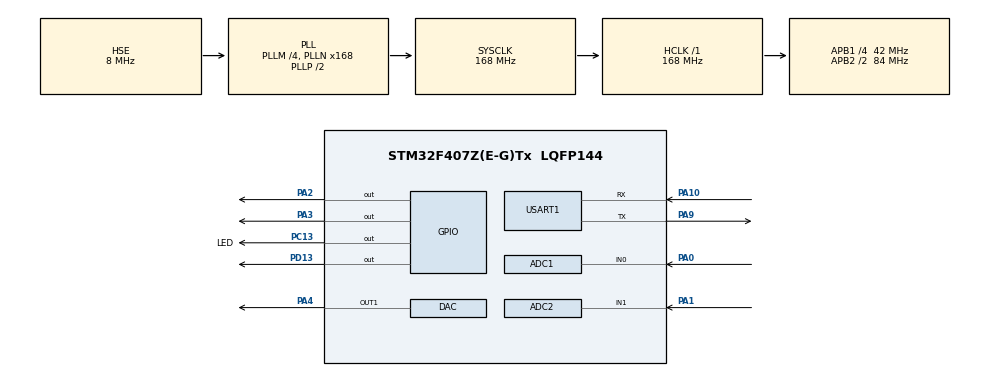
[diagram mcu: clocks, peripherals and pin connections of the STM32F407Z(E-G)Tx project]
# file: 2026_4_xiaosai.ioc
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ADC1.Channel-0\#ChannelRegularConversion=ADC_CHANNEL_0
ADC1.ClockPrescaler=ADC_CLOCK_SYNC_PCLK_DIV4
ADC1.ContinuousConvMode=DISABLE
ADC1.DMAContinuousRequests=ENABLE
ADC1.EOCSelection=ADC_EOC_SINGLE_CONV
ADC1.ExternalTrigConv=ADC_EXTERNALTRIGCONV_T3_TRGO
ADC1.Mode=ADC_DUALMODE_REGSIMULT
ADC1.NbrOfConversionFlag=1
ADC1.Rank-0\#ChannelRegularConversion=1
ADC1.SamplingTime-0\#ChannelRegularConversion=ADC_SAMPLETIME_3CYCLES
ADC1.ScanConvMode=DISABLE
ADC1.master=1
ADC2.Channel-1\#ChannelRegularConversion=ADC_CHANNEL_1
ADC2.ClockPrescaler=ADC_CLOCK_SYNC_PCLK_DIV4
ADC2.DMAAccessMode=ADC_DMAACCESSMODE_2
ADC2.Mode=ADC_DUALMODE_REGSIMULT
ADC2.NbrOfConversionFlag=1
ADC2.Rank-1\#ChannelRegularConversion=1
ADC2.SamplingTime-1\#ChannelRegularConversion=ADC_SAMPLETIME_3CYCLES
DAC.DAC_Trigger=DAC_TRIGGER_T2_TRGO
Dma.ADC1.0.Direction=DMA_PERIPH_TO_MEMORY
Dma.ADC1.0.FIFOMode=DMA_FIFOMODE_DISABLE
Dma.ADC1.0.Instance=DMA2_Stream0
Dma.ADC1.0.MemDataAlignment=DMA_MDATAALIGN_WORD
Dma.ADC1.0.MemInc=DMA_MINC_ENABLE
Dma.ADC1.0.Mode=DMA_CIRCULAR
Dma.ADC1.0.PeriphDataAlignment=DMA_PDATAALIGN_WORD
Dma.ADC1.0.PeriphInc=DMA_PINC_DISABLE
Dma.ADC1.0.Priority=DMA_PRIORITY_LOW
Dma.DAC1.1.Direction=DMA_MEMORY_TO_PERIPH
Dma.DAC1.1.FIFOMode=DMA_FIFOMODE_DISABLE
Dma.DAC1.1.Instance=DMA1_Stream5
Dma.DAC1.1.MemDataAlignment=DMA_MDATAALIGN_HALFWORD
Dma.DAC1.1.MemInc=DMA_MINC_ENABLE
Dma.DAC1.1.Mode=DMA_CIRCULAR
Dma.DAC1.1.PeriphDataAlignment=DMA_PDATAALIGN_HALFWORD
Dma.DAC1.1.PeriphInc=DMA_PINC_DISABLE
Dma.DAC1.1.Priority=DMA_PRIORITY_LOW
Dma.Request0=ADC1
Dma.Request1=DAC1
Mcu.Family=STM32F4
Mcu.Name=STM32F407Z(E-G)Tx
Mcu.Package=LQFP144
NVIC.ADC_IRQn=true\:0\:0\:false\:false\:true\:true\:true\:true
NVIC.DMA1_Stream5_IRQn=true\:0\:0\:false\:false\:true\:false\:true\:true
NVIC.DMA2_Stream0_IRQn=true\:0\:0\:false\:false\:true\:false\:true\:true
NVIC.PriorityGroup=NVIC_PRIORITYGROUP_4
PA0-WKUP.Signal=ADCx_IN0
PA1.Signal=ADCx_IN1
PA10.Mode=Asynchronous
PA10.Signal=USART1_RX
PA13.Mode=Serial_Wire
PA13.Signal=SYS_JTMS-SWDIO
PA14.Mode=Serial_Wire
PA14.Signal=SYS_JTCK-SWCLK
PA2.Signal=GPIO_Output
PA3.Signal=GPIO_Output
PA4.Signal=COMP_DAC1_group
PA9.Mode=Asynchronous
PA9.Signal=USART1_TX
PC13-ANTI_TAMP.GPIO_Label=LED
PC13-ANTI_TAMP.GPIO_PuPd=GPIO_PULLUP
PC13-ANTI_TAMP.Signal=GPIO_Output
PD13.Signal=GPIO_Output
PH0-OSC_IN.Mode=HSE-External-Oscillator
PH0-OSC_IN.Signal=RCC_OSC_IN
PH1-OSC_OUT.Mode=HSE-External-Oscillator
PH1-OSC_OUT.Signal=RCC_OSC_OUT
ProjectManager.HeapSize=0x200
ProjectManager.StackSize=0x400
ProjectManager.TargetToolchain=Makefile
RCC.48MHZClocksFreq_Value=84000000
RCC.AHBFreq_Value=168000000
RCC.APB1CLKDivider=RCC_HCLK_DIV4
RCC.APB1Freq_Value=42000000
RCC.APB1TimFreq_Value=84000000
RCC.APB2CLKDivider=RCC_HCLK_DIV2
RCC.APB2Freq_Value=84000000
RCC.APB2TimFreq_Value=168000000
RCC.CortexFreq_Value=168000000
RCC.HCLKFreq_Value=168000000
RCC.HSE_VALUE=8000000
RCC.HSI_VALUE=16000000
RCC.LSE_VALUE=32768
RCC.PLLM=4
RCC.PLLN=168
RCC.PLLSourceVirtual=RCC_PLLSOURCE_HSE
RCC.SYSCLKFreq_VALUE=168000000
RCC.SYSCLKSource=RCC_SYSCLKSOURCE_PLLCLK
RCC.VCOOutputFreq_Value=336000000
SH.ADCx_IN0.0=ADC1_IN0,IN0
SH.ADCx_IN1.0=ADC2_IN1,IN1
SH.COMP_DAC1_group.0=DAC_OUT1,DAC_OUT1
TIM2.AutoReloadPreload=TIM_AUTORELOAD_PRELOAD_ENABLE
TIM2.Period=21-1
TIM2.Prescaler=20-1
TIM2.TIM_MasterOutputTrigger=TIM_TRGO_UPDATE
TIM2.TIM_MasterSlaveMode=TIM_MASTERSLAVEMODE_ENABLE
TIM3.Period=42-1
TIM3.Prescaler=20-1
TIM3.TIM_MasterOutputTrigger=TIM_TRGO_UPDATE
TIM5.Prescaler=84-1
USART1.VirtualMode=VM_ASYNC
VP_TIM2_VS_ClockSourceINT.Mode=Internal
VP_TIM3_VS_ClockSourceINT.Mode=Internal
VP_TIM3_VS_ClockSourceITR.Mode=TriggerSource_ITR1
VP_TIM3_VS_ControllerModeTrigger.Mode=Trigger Mode
VP_TIM5_VS_ClockSourceINT.Mode=Internal
board=custom

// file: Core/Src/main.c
/* USER CODE BEGIN Header */
/**
 ******************************************************************************
 * @file           : main.c
 * @brief          : Main program body
 ******************************************************************************
 * @attention
 *
 * Copyright (c) 2026 STMicroelectronics.
 * All rights reserved.
 *
 * This software is licensed under terms that can be found in the LICENSE file
 * in the root directory of this software component.
 * If no LICENSE file comes with this software, it is provided AS-IS.
 *
 ******************************************************************************
 */
/* USER CODE END Header */
#include "main.h"
#include "adc.h"
#include "dac.h"
#include "dma.h"
#include "gpio.h"
#include "tim.h"
#include "usart.h"

/* USER CODE BEGIN Includes */
#include <math.h>
#include <stm32f407xx.h>
#include <string.h>
/* USER CODE END Includes */

/* USER CODE BEGIN PD */

//^ ADC 采样频率 50KHz 由 TIM3 触发，ADC 缓存区 128*2(uint32_t)
//^ ADC 使用 Dual Regular Simultaneous Mode Only 模式
//^ 实现 ADC1 和 ADC2 同步触发采样
//^ DAC 输出频率 200KHz 由 TIM2 触发，DAC 缓存区 1024(uint16_t)
//^ 为了 ADC 与 DAC 同步，需要对写入的DAC数据进行插值
//^ TIM2 与 TIM3 的主从触发关系，保证 ADC 与 DAC 时钟同步

#define ADC_BUFFER_SIZE 256
#define ADC_PAIR_COUNT 128
#define DAC_INTERP_FACTOR 4
#define DAC_BUFFER_SIZE (ADC_PAIR_COUNT * DAC_INTERP_FACTOR * 2)

#define NLMS_TAPS 96      //^ 滤波器 抽头数
#define NLMS_MU (0.0003f) //^ 滤波器 步长
#define NLMS_GAIN 1.98f
#define NLMS_EPS (1e-6f) //^ 滤波器 最小

#define HIGH_PASS_FILTER_ON 0 // 1: DAC 输出前经过高通滤波
#define NLMS_CUSTOM_INIT_ON 1 // 1: 使用 nlms_initial_w 初始化权重；0: 权重全 0
#define NLMS_INITIAL_W_SET 2 // 1: 使用 nlms_initial_w；2: 使用 nlms_initial_w_2
#define NLMS_FREEZE_W_ON 0   // 1: 固定 NLMS 权重，不执行自适应更新
#define DIRECT_MIX_MINUS_NOISE_ON 0 // 1: 跳过 NLMS，直接输出 混合波-噪声
#define NLMS_DESPIKE_ON 0           // 1: 启用插值前单点尖峰修复
#define NLMS_DESPIKE_TH 80.0f       // 尖峰阈值，单位为中心化 ADC 码值

#define NLMS_FREQ_SAMPLE_RATE 50000.0f // NLMS e 的采样率，单位 Hz
#define NLMS_FREQ_WINDOW_SIZE 2048     // 频率计统计窗口长度
#define NLMS_FREQ_HYST_TH 50.0f        // 参考方波测频上升沿零交叉迟滞阈值
#define NLMS_FREQ_MIN_RMS 80.0f        // RMS 低于该值时不更新频率
#define NLMS_FREQ_MIN_HZ 95.0f         // 有效频率下限
#define NLMS_FREQ_MAX_HZ 5010.0f       // 有效频率上限
#define NLMS_FREQ_LP_B0 0.0697341272102174f
#define NLMS_FREQ_LP_B1 0.139468254420435f
#define NLMS_FREQ_LP_B2 0.0697341272102174f
#define NLMS_FREQ_LP_A1 -1.12675955771016f
#define NLMS_FREQ_LP_A2 0.405696066551028f
#define NLMS_FREQ_AVG_SHIFT_HIGH 4U
#define NLMS_FREQ_AVG_SHIFT_LOW 9U
#define NLMS_FREQ_PREDICT_SIZE 1024U
#define NLMS_FREQ_PREDICT_STABLE_COUNT 2U
#define NLMS_FREQ_FALLBACK_STABLE_COUNT 14U
#define NLMS_FREQ_PREDICT_TH_HZ 800.0f
#define NLMS_FREQ_ASYNC_CHUNK_SIZE 64U
#define DEBUG_NLMS_FREQ_HISTORY_SIZE 256U // 记录每次测得的 NLMS 频率

#define NLMS_REF_NOTCH_ON 1                  // 1: 对 NLMS 参考输入启用动态陷波
#define NLMS_REF_NOTCH_SAMPLE_RATE 50000.0f  // 参考输入陷波器采样率，单位 Hz
#define NLMS_REF_NOTCH_MIN_FREQ 100.0f       // notch 有效频率下限
#define NLMS_REF_NOTCH_MAX_FREQ 5000.0f      // notch 有效频率上限
#define NLMS_REF_NOTCH_R 0.990f              // notch 极点半径，越接近 1 越窄
#define NLMS_REF_NOTCH_UPDATE_ALPHA 0.02f    // 锁定频率平滑更新系数
#define NLMS_REF_NOTCH_FREQ_CHANGE_TH 20.0f  // 频率变化超过该值才更新
#define NLMS_REF_NOTCH_MIN_CONFIDENCE 0.5f   // 频率计置信度下限
#define NLMS_REF_NOTCH_BYPASS_LOW_FREQ_ON 1  // 1: 低频时旁路参考输入陷波
#define NLMS_REF_NOTCH_BYPASS_FREQ_HZ 250.0f // 低于该频率不进行陷波
#define NLMS_FREQ_JUMP_RESET_ON 0     // 1: 频率突变时重置 NLMS/notch 状态
#define NLMS_FREQ_JUMP_RESET_TH 60.0f // 频率突变重置阈值，单位 Hz

#define REF_SQUARE_DETECT_WINDOW_SIZE 256  // 参考噪声方波检测窗口长度
#define REF_SQUARE_DETECT_MIN_PP 160.0f    // 峰峰值低于该值时判定为非方波
#define REF_SQUARE_EDGE_TH_RATIO 0.35f     // 超过该比例峰峰值的变化视为跳变边沿
#define REF_SQUARE_EDGE_COUNT_MIN 1U       // 每窗口至少需要的跳变边沿数
#define REF_SQUARE_PLATEAU_RATIO_MIN 0.65f // 样本多数停在高/低平台才像方波

#define ADC_MIX_MID (2048.0f)   //^ 混合波 目标抬升电压，看示波器的平均值
#define ADC_NOISE_MID (2048.0f) //^ 噪声 目标抬升电压，看示波器的平均值
#define DAC_MAX (4095U)

#define NLMS_RESET_LED_HOLD_MS 500U
#define NLMS_RESET_LED_PORT GPIOC
#define NLMS_RESET_LED_PIN GPIO_PIN_13
/* USER CODE END PD */

/* USER CODE BEGIN PM */
typedef struct {
  float prev_e;
  uint8_t prev_valid;

  uint8_t armed_positive;
  uint8_t armed_negative;

  uint32_t sample_count;
  uint32_t zero_cross_count;

  float sum2;
  float min_e;
  float max_e;
  float last_freq_hz;
  float confidence;
} nlms_freq_meter_t;

typedef enum {
  NLMS_FREQ_ASYNC_IDLE = 0,
  NLMS_FREQ_ASYNC_FORWARD,
  NLMS_FREQ_ASYNC_REVERSE_1,
  NLMS_FREQ_ASYNC_BACKWARD,
  NLMS_FREQ_ASYNC_REVERSE_2,
  NLMS_FREQ_ASYNC_BINARY_HIGH,
  NLMS_FREQ_ASYNC_ESTIMATE_PREDICT,
  NLMS_FREQ_ASYNC_BINARY_FINAL,
  NLMS_FREQ_ASYNC_ESTIMATE_FINAL,
} nlms_freq_async_phase_t;

typedef struct {
  nlms_freq_async_phase_t phase;
  const float *input;
  uint32_t sample_count;
  uint32_t index;

  float x1;
  float x2;
  float y1;
  float y2;

  float avg1;
  float avg2;
  float avg3;
  float avg_divisor;

  uint8_t current_state_high;
  uint8_t candidate_state_high;
  uint32_t candidate_count;
  uint32_t stable_sample_count;
  uint32_t rising_count;
  uint32_t first_edge;
  uint32_t last_edge;

  float rms;
  float min_e;
  float max_e;
  float predict_freq_hz;
} nlms_freq_async_t;

typedef struct {
  float b0;
  float b1;
  float b2;
  float a1;
  float a2;

  float x1;
  float x2;
  float y1;
  float y2;

  float locked_freq_hz;
  uint8_t freq_valid;
} dynamic_notch_t;

typedef struct {
  float prev_x;
  uint8_t prev_valid;

  uint32_t sample_count;
  uint32_t edge_count;
  uint32_t plateau_count;
  uint32_t high_plateau_count;
  uint32_t low_plateau_count;
  float high_plateau_sum;
  float low_plateau_sum;
  float min_x;
  float max_x;
  float prev_min_x;
  float prev_max_x;
} ref_square_detector_t;

typedef struct {
  float w[NLMS_TAPS];
  float x_hist[NLMS_TAPS * 2];
  uint8_t idx;

  float mu;
  float gain;

  float prev_out_f;
  uint8_t prev_out_valid;

  float despike_hist[5];
  uint8_t despike_valid_count;

  nlms_freq_meter_t freq_meter;
  nlms_freq_meter_t ref_square_freq_meter;
  uint8_t ref_square_freq_meter_active;
  dynamic_notch_t ref_notch;
  ref_square_detector_t ref_square_detector;
} nlms32_t;

typedef struct {
  float b0;
  float b1;
  float b2;
  float a1;
  float a2;

  float x1;
  float x2;
  float y1;
  float y2;
} biquad_hp_t;
/* USER CODE END PM */

/* USER CODE BEGIN PV */
uint16_t adcRAwValues[ADC_BUFFER_SIZE * 2];
uint16_t dacOutputValues[DAC_BUFFER_SIZE];
volatile uint16_t DMA_FULL_SIGN = 0;
volatile uint16_t DMA_HALF_SIGN = 0;

volatile uint32_t tim5_last_half = 0;
volatile uint32_t tim5_last_full = 0;

volatile uint32_t tim5_delta_half = 0;
volatile uint32_t tim5_delta_full = 0;

volatile float adc_fs_half = 0.0f;
volatile float adc_fs_full = 0.0f;

volatile uint32_t nlms_time_us_half = 0;
volatile uint32_t nlms_time_us_full = 0;

volatile float debug_nlms_freq_hz = 0.0f;
volatile float debug_nlms_freq_confidence = 0.0f;
volatile uint8_t debug_nlms_freq_updated = 0;
volatile uint32_t debug_nlms_zero_cross_count = 0;
volatile float debug_nlms_e_rms = 0.0f;
volatile float debug_nlms_e_pp = 0.0f;
volatile uint32_t debug_nlms_freq_async_drop_count = 0;
volatile uint32_t debug_nlms_freq_async_complete_count = 0;
volatile uint8_t debug_nlms_freq_async_phase = 0;
volatile float debug_nlms_freq_history[DEBUG_NLMS_FREQ_HISTORY_SIZE];
volatile uint32_t debug_nlms_freq_history_index = 0;
volatile uint32_t debug_nlms_freq_history_count = 0;
volatile uint8_t debug_nlms_freq_history_full = 0;

volatile float debug_ref_notch_locked_freq_hz = 0.0f;
volatile uint8_t debug_ref_notch_valid = 0;
volatile float debug_ref_notch_last_in = 0.0f;
volatile float debug_ref_notch_last_out = 0.0f;
volatile uint8_t ref_noise_is_square = 0;
volatile float debug_ref_square_pp = 0.0f;
volatile float debug_ref_square_amplitude = 0.0f;
volatile uint32_t debug_ref_square_edge_count = 0;
volatile float debug_ref_square_plateau_ratio = 0.0f;
volatile float debug_ref_square_freq_hz = 0.0f;
volatile float square_nlms_freq_ratio = 0.0f;
volatile float debug_ref_square_freq_confidence = 0.0f;
volatile uint32_t debug_ref_square_zero_cross_count = 0;
volatile float debug_ref_square_rms = 0.0f;

volatile uint32_t nlms_reset_led_until_tick = 0;

biquad_hp_t hp_filter;

static float nlms_freq_window_buffers[2][NLMS_FREQ_WINDOW_SIZE];
static uint8_t nlms_freq_capture_buffer_index = 0;
static float nlms_freq_forward_buffer[NLMS_FREQ_WINDOW_SIZE];
static float nlms_freq_reverse_buffer[NLMS_FREQ_WINDOW_SIZE];
static uint8_t nlms_freq_binary_buffer[NLMS_FREQ_WINDOW_SIZE];
static nlms_freq_async_t nlms_freq_async;

static const float nlms_initial_w[NLMS_TAPS] = {
    0.55393779f,  0.05828273f,  0.00947517f,  0.02123324f,  0.02595950f,
    0.02512634f,  0.01482946f,  0.01859419f,  0.02164500f,  0.01328076f,
    0.00589223f,  0.00454398f,  -0.00055090f, -0.00355160f, -0.00596500f,
    -0.01071970f, -0.00854940f, -0.01172730f, -0.01025810f, -0.00368720f,
    -0.00548850f, -0.01357660f, -0.01590370f, -0.01937480f, -0.01537280f,
    -0.01438860f, -0.01659710f, -0.01232130f, -0.01207550f, -0.01303160f,
    -0.00795730f, -0.00869580f, -0.00083830f, -0.00872900f, -0.00831830f,
    -0.00254990f, -0.00006860f, -0.00354860f, -0.00049800f, -0.00392100f,
    -0.00126310f, 0.00219566f,  0.00776127f,  0.01247297f,  0.01972256f,
    0.01852969f,  0.02206242f,  0.03216345f,  0.02739611f,  0.02190173f,
    0.01558967f,  0.00816376f,  0.01403034f,  0.01517150f,  -0.00511280f,
    -0.00408490f, 0.00387149f,  -0.00158420f, -0.00311990f, 0.00480921f,
    -0.00336530f, -0.00593300f, -0.00551580f, -0.00852790f, -0.00393320f,
    -0.00571260f, -0.00478450f, -0.01144030f, -0.01700700f, -0.01155420f,
    -0.01256050f, -0.02012080f, -0.01462420f, -0.01228270f, -0.00848400f,
    -0.00756340f, -0.00423900f, -0.01135800f, -0.01206830f, -0.01063920f,
    -0.00933140f, -0.01045170f, -0.00353620f, -0.00649520f, -0.00359620f,
    -0.00189810f, 0.00868736f,  0.00626283f,  0.00880507f,  0.01333197f,
    0.01328707f,  0.01103873f,  0.02362979f,  0.02223933f,  0.02087310f,
    0.03760396f,
};

static const float nlms_initial_w_2[NLMS_TAPS] = {
    0.50588584f,  -0.00007370f, -0.00231630f, -0.00237890f, -0.00274020f,
    -0.00294380f, -0.00316070f, -0.00365920f, -0.00319390f, -0.00196140f,
    -0.00143670f, -0.00132760f, -0.00132880f, -0.00091140f, -0.00071150f,
    -0.00126180f, -0.00100440f, -0.00031120f, 0.00004780f,  0.00044158f,
    -0.00000691f, 0.00067347f,  0.00192990f,  0.00179262f,  0.00232234f,
    0.00244144f,  0.00316485f,  0.00333345f,  0.00338150f,  0.00323981f,
    0.00354344f,  0.00335923f,  0.00340161f,  0.00246785f,  0.00201835f,
    0.00149749f,  0.00158954f,  0.00114187f,  0.00093396f,  0.00086173f,
    0.00062118f,  0.00066478f,  -0.00031550f, -0.00032140f, -0.00061320f,
    -0.00091700f, 0.00076454f,  0.00089096f,  0.00082928f,  0.00168426f,
    0.00137873f,  0.00173632f,  0.00172992f,  0.00223290f,  0.00241716f,
    0.00230509f,  0.00293143f,  0.00238955f,  0.00300679f,  0.00359567f,
    0.00393515f,  0.00317107f,  0.00295882f,  0.00207902f,  0.00094402f,
    -0.00016500f, -0.00049300f, -0.00146580f, -0.00162620f, -0.00222820f,
    -0.00245050f, -0.00243730f, -0.00303720f, -0.00353640f, -0.00340710f,
    -0.00358830f, -0.00293820f, -0.00311060f, -0.00281000f, -0.00210160f,
    -0.00179770f, -0.00110250f, -0.00015170f, 0.00067876f,  0.00142154f,
    0.00075833f,  0.00060854f,  0.00132362f,  0.00197883f,  0.00188946f,
    0.00206669f,  0.00276133f,  0.00387775f,  0.00470601f,  0.00544337f,
    0.00981311f,
};
/* USER CODE END PV */

void SystemClock_Config(void);
/* USER CODE BEGIN PFP */
void ClearDACOutputValues();
uint16_t clamp_to_dac_u16(float v);
void nlms32_init(nlms32_t *s);
void nlms32_process_block_u16(nlms32_t *s,
                              const uint16_t *restrict adc_interleaved,
                              uint16_t *restrict out, uint32_t pair_count);
void nlms32_reset(nlms32_t *s);

void biquad_hp_init(biquad_hp_t *f);
float biquad_hp_process(biquad_hp_t *f, float x0);
void nlms_freq_meter_init(nlms_freq_meter_t *m);
void nlms_freq_meter_process(nlms_freq_meter_t *m, float e_raw, nlms32_t *s);
static void nlms_freq_async_init(void);
static uint8_t nlms_freq_async_start(const float *input, uint32_t sample_count,
                                     float rms, float min_e, float max_e);
static void nlms_freq_async_process_slice(void);
void ref_square_freq_meter_init(nlms_freq_meter_t *m);
void ref_square_freq_meter_process(nlms_freq_meter_t *m, float x_raw);
void dynamic_notch_init(dynamic_notch_t *f);
void dynamic_notch_set_freq(dynamic_notch_t *f, float freq_hz);
void dynamic_notch_update_freq(dynamic_notch_t *f, float measured_freq_hz,
                               float confidence);
float dynamic_notch_process(dynamic_notch_t *f, float x);
void ref_square_detector_init(ref_square_detector_t *d);
void ref_square_detector_process(ref_square_detector_t *d, float x_raw);
/* USER CODE END PFP */

int main(void) {

  /* MCU Configuration--------------------------------------------------------*/

  /* Reset of all peripherals, Initializes the Flash interface and the Systick.
   */
  HAL_Init();

  /* Configure the system clock */
  SystemClock_Config();

  /* Initialize all configured peripherals */
  MX_GPIO_Init();
  MX_DMA_Init();
  MX_ADC1_Init();
  MX_USART1_UART_Init();
  MX_TIM2_Init();
  MX_ADC2_Init();
  MX_DAC_Init();
  MX_TIM5_Init();
  MX_TIM3_Init();
  /* USER CODE BEGIN 2 */

  ClearDACOutputValues();

  /* USER CODE END 2 */

  /* Infinite loop */
  /* USER CODE BEGIN WHILE */
  nlms32_t nlms;
  nlms32_init(&nlms);

  HAL_GPIO_WritePin(GPIOD, GPIO_PIN_13, GPIO_PIN_RESET);

  biquad_hp_init(&hp_filter);

  HAL_DAC_Start_DMA(&hdac, DAC_CHANNEL_1, (uint32_t *)dacOutputValues,
                    DAC_BUFFER_SIZE, DAC_ALIGN_12B_R);

  HAL_ADC_Start(&hadc2);
  HAL_ADCEx_MultiModeStart_DMA(&hadc1, (uint32_t *)adcRAwValues,
                               ADC_BUFFER_SIZE);
  HAL_TIM_Base_Start(&htim3);
  HAL_TIM_Base_Start(&htim2);
  HAL_TIM_Base_Start(&htim5);

  // 调试用，解除以下注释并停止调用nlms32_process_block_u16函数，可以让DAC输出方波，
  // 可以用示波器测 高/低电平持续时间 得到 DAC 输出频率
  // for (int i = 0; i < DAC_BUFFER_SIZE; i++) {
  //   dacOutputValues[i] = (i % 2 == 0) ? 0 : 4095;
  // }

  while (1) {
    static uint32_t last_print = 0;
    if (HAL_GetTick() - last_print > 500) {
      last_print = HAL_GetTick();
      volatile uint8_t breakpoint_marker = 0; //^ 断点行
      (void)breakpoint_marker;
      // 在这一行打断点可以观察：
      // adc_fs_full ADC采样频率
      // tim5_delta_half ADC采样半个缓冲区所需时间
      // nlms_time_us_half 主循环处理半个缓冲区数据所需时间
      //! tim5_delta_half 必须大于 nlms_time_us_half
    }

    if ((int32_t)(HAL_GetTick() - nlms_reset_led_until_tick) < 0) {
      HAL_GPIO_WritePin(NLMS_RESET_LED_PORT, NLMS_RESET_LED_PIN,
                        GPIO_PIN_RESET);
    } else {
      HAL_GPIO_WritePin(NLMS_RESET_LED_PORT, NLMS_RESET_LED_PIN, GPIO_PIN_SET);
    }

    if (DMA_HALF_SIGN == 1) {
      DMA_HALF_SIGN = 0;
      uint32_t t_start = TIM5->CNT;

      nlms32_process_block_u16(&nlms, adcRAwValues, dacOutputValues,
                               ADC_PAIR_COUNT);
      nlms_time_us_half = TIM5->CNT - t_start;
    }

    if (DMA_FULL_SIGN == 1) {
      DMA_FULL_SIGN = 0;
      uint32_t t_start = TIM5->CNT;

      nlms32_process_block_u16(&nlms, adcRAwValues + ADC_BUFFER_SIZE,
                               dacOutputValues + (DAC_BUFFER_SIZE / 2),
                               ADC_PAIR_COUNT);
      nlms_time_us_full = TIM5->CNT - t_start;
    }

    if ((DMA_HALF_SIGN == 0) && (DMA_FULL_SIGN == 0)) {
      nlms_freq_async_process_slice();
    }

    /* USER CODE END WHILE */

  }
}

void SystemClock_Config(void) {
  RCC_OscInitTypeDef RCC_OscInitStruct = {0};
  RCC_ClkInitTypeDef RCC_ClkInitStruct = {0};

  /** Configure the main internal regulator output voltage
   */
  __HAL_RCC_PWR_CLK_ENABLE();
  __HAL_PWR_VOLTAGESCALING_CONFIG(PWR_REGULATOR_VOLTAGE_SCALE1);

  /** Initializes the RCC Oscillators according to the specified parameters
   * in the RCC_OscInitTypeDef structure.
   */
  RCC_OscInitStruct.OscillatorType = RCC_OSCILLATORTYPE_HSE;
  RCC_OscInitStruct.HSEState = RCC_HSE_ON;
  RCC_OscInitStruct.PLL.PLLState = RCC_PLL_ON;
  RCC_OscInitStruct.PLL.PLLSource = RCC_PLLSOURCE_HSE;
  RCC_OscInitStruct.PLL.PLLM = 4;
  RCC_OscInitStruct.PLL.PLLN = 168;
  RCC_OscInitStruct.PLL.PLLP = RCC_PLLP_DIV2;
  RCC_OscInitStruct.PLL.PLLQ = 4;
  if (HAL_RCC_OscConfig(&RCC_OscInitStruct) != HAL_OK) {
    Error_Handler();
  }

  /** Initializes the CPU, AHB and APB buses clocks
   */
  RCC_ClkInitStruct.ClockType = RCC_CLOCKTYPE_HCLK | RCC_CLOCKTYPE_SYSCLK |
                                RCC_CLOCKTYPE_PCLK1 | RCC_CLOCKTYPE_PCLK2;
  RCC_ClkInitStruct.SYSCLKSource = RCC_SYSCLKSOURCE_PLLCLK;
  RCC_ClkInitStruct.AHBCLKDivider = RCC_SYSCLK_DIV1;
  RCC_ClkInitStruct.APB1CLKDivider = RCC_HCLK_DIV4;
  RCC_ClkInitStruct.APB2CLKDivider = RCC_HCLK_DIV2;

  if (HAL_RCC_ClockConfig(&RCC_ClkInitStruct, FLASH_LATENCY_5) != HAL_OK) {
    Error_Handler();
  }
}

/* USER CODE BEGIN 4 */

void nlms32_init(nlms32_t *s) {
  memset(s, 0, sizeof(*s));
  if (NLMS_CUSTOM_INIT_ON == 1) {
    memcpy(s->w, (NLMS_INITIAL_W_SET == 2) ? nlms_initial_w_2 : nlms_initial_w,
           sizeof(s->w));
  }
  s->mu = NLMS_MU;
  s->gain = 1.0f;
  s->idx = 0;
  s->prev_out_f = ADC_MIX_MID;
  s->prev_out_valid = 0;
  memset(s->despike_hist, 0, sizeof(s->despike_hist));
  s->despike_valid_count = 0;
  nlms_freq_meter_init(&s->freq_meter);
  ref_square_freq_meter_init(&s->ref_square_freq_meter);
  s->ref_square_freq_meter_active = 0;
  dynamic_notch_init(&s->ref_notch);
  ref_square_detector_init(&s->ref_square_detector);
}

void nlms32_reset(nlms32_t *s) {
  if (NLMS_CUSTOM_INIT_ON == 1) {
    memcpy(s->w, (NLMS_INITIAL_W_SET == 2) ? nlms_initial_w_2 : nlms_initial_w,
           sizeof(s->w));
  } else {
    memset(s->w, 0, sizeof(s->w));
  }
  memset(s->x_hist, 0, sizeof(s->x_hist));
  s->mu = NLMS_MU;
  s->gain = 1.0f;
  s->idx = 0;
  s->prev_out_f = ADC_MIX_MID;
  s->prev_out_valid = 0;
  memset(s->despike_hist, 0, sizeof(s->despike_hist));
  s->despike_valid_count = 0;
  nlms_freq_meter_init(&s->freq_meter);
  ref_square_freq_meter_init(&s->ref_square_freq_meter);
  s->ref_square_freq_meter_active = 0;
  dynamic_notch_init(&s->ref_notch);
  ref_square_detector_init(&s->ref_square_detector);
}

void ref_square_detector_init(ref_square_detector_t *d) {
  memset(d, 0, sizeof(*d));
  d->min_x = 1.0e30f;
  d->max_x = -1.0e30f;
  d->prev_min_x = 0.0f;
  d->prev_max_x = 0.0f;
  ref_noise_is_square = 0;
  debug_ref_square_pp = 0.0f;
  debug_ref_square_amplitude = 0.0f;
  debug_ref_square_edge_count = 0;
  debug_ref_square_plateau_ratio = 0.0f;
}

void ref_square_detector_process(ref_square_detector_t *d, float x_raw) {
  if (x_raw < d->min_x) {
    d->min_x = x_raw;
  }
  if (x_raw > d->max_x) {
    d->max_x = x_raw;
  }

  const float last_pp = d->prev_max_x - d->prev_min_x;
  if (last_pp >= REF_SQUARE_DETECT_MIN_PP) {
    const float low_plateau_th = d->prev_min_x + 0.25f * last_pp;
    const float high_plateau_th = d->prev_max_x - 0.25f * last_pp;

    if (x_raw <= low_plateau_th) {
      d->plateau_count++;
      d->low_plateau_count++;
      d->low_plateau_sum += x_raw;
    } else if (x_raw >= high_plateau_th) {
      d->plateau_count++;
      d->high_plateau_count++;
      d->high_plateau_sum += x_raw;
    }
  }

  if (d->prev_valid) {
    const float dx = x_raw - d->prev_x;
    if ((last_pp >= REF_SQUARE_DETECT_MIN_PP) &&
        (fabsf(dx) >= (REF_SQUARE_EDGE_TH_RATIO * last_pp))) {
      d->edge_count++;
    }
  } else {
    d->prev_valid = 1;
  }

  d->prev_x = x_raw;
  d->sample_count++;

  if (d->sample_count >= REF_SQUARE_DETECT_WINDOW_SIZE) {
    const float pp = d->max_x - d->min_x;
    const float plateau_ratio =
        (float)d->plateau_count / (float)d->sample_count;
    const uint8_t has_robust_levels =
        (d->high_plateau_count > 0U) && (d->low_plateau_count > 0U);
    const float high_level =
        has_robust_levels ? (d->high_plateau_sum / (float)d->high_plateau_count)
                          : d->max_x;
    const float low_level =
        has_robust_levels ? (d->low_plateau_sum / (float)d->low_plateau_count)
                          : d->min_x;

    ref_noise_is_square = (pp >= REF_SQUARE_DETECT_MIN_PP) &&
                          (d->edge_count >= REF_SQUARE_EDGE_COUNT_MIN) &&
                          (plateau_ratio >= REF_SQUARE_PLATEAU_RATIO_MIN);

    debug_ref_square_pp = pp;
    debug_ref_square_amplitude =
        ((ref_noise_is_square == 1) ? (high_level - low_level) : 0.0f) /
        4095.0 * 3.3 / 2;
    debug_ref_square_edge_count = d->edge_count;
    debug_ref_square_plateau_ratio = plateau_ratio;

    d->sample_count = 0;
    d->edge_count = 0;
    d->plateau_count = 0;
    d->high_plateau_count = 0;
    d->low_plateau_count = 0;
    d->high_plateau_sum = 0.0f;
    d->low_plateau_sum = 0.0f;
    d->prev_min_x = d->min_x;
    d->prev_max_x = d->max_x;
    d->min_x = 1.0e30f;
    d->max_x = -1.0e30f;
  }
}

void dynamic_notch_init(dynamic_notch_t *f) {
  memset(f, 0, sizeof(*f));
  f->b0 = 1.0f;
  f->b1 = 0.0f;
  f->b2 = 0.0f;
  f->a1 = 0.0f;
  f->a2 = 0.0f;
  f->locked_freq_hz = 0.0f;
  f->freq_valid = 0;

  debug_ref_notch_locked_freq_hz = 0.0f;
  debug_ref_notch_valid = 0;
  debug_ref_notch_last_in = 0.0f;
  debug_ref_notch_last_out = 0.0f;
}

void dynamic_notch_set_freq(dynamic_notch_t *f, float freq_hz) {
  if ((freq_hz < NLMS_REF_NOTCH_MIN_FREQ) ||
      (freq_hz > NLMS_REF_NOTCH_MAX_FREQ)) {
    return;
  }

  const float w0 = 2.0f * (float)M_PI * freq_hz / NLMS_REF_NOTCH_SAMPLE_RATE;
  const float c = cosf(w0);
  const float r = NLMS_REF_NOTCH_R;

  f->b0 = 1.0f;
  f->b1 = -2.0f * c;
  f->b2 = 1.0f;
  f->a1 = -2.0f * r * c;
  f->a2 = r * r;
  f->locked_freq_hz = freq_hz;
  f->freq_valid = 1;

  debug_ref_notch_locked_freq_hz = f->locked_freq_hz;
  debug_ref_notch_valid = f->freq_valid;
}

void dynamic_notch_update_freq(dynamic_notch_t *f, float measured_freq_hz,
                               float confidence) {
  if ((confidence < NLMS_REF_NOTCH_MIN_CONFIDENCE) ||
      (measured_freq_hz < NLMS_REF_NOTCH_MIN_FREQ) ||
      (measured_freq_hz > NLMS_REF_NOTCH_MAX_FREQ)) {
    return;
  }

  if (f->freq_valid == 0) {
    dynamic_notch_set_freq(f, measured_freq_hz);
    return;
  }

  if (fabsf(measured_freq_hz - f->locked_freq_hz) >
      NLMS_REF_NOTCH_FREQ_CHANGE_TH) {
    const float new_freq =
        f->locked_freq_hz +
        NLMS_REF_NOTCH_UPDATE_ALPHA * (measured_freq_hz - f->locked_freq_hz);
    dynamic_notch_set_freq(f, new_freq);
  }
}

float dynamic_notch_process(dynamic_notch_t *f, float x) {
  if ((NLMS_REF_NOTCH_ON == 0) || (f->freq_valid == 0)) {
    return x;
  }
  if ((NLMS_REF_NOTCH_BYPASS_LOW_FREQ_ON == 1) &&
      (debug_nlms_freq_hz < NLMS_REF_NOTCH_BYPASS_FREQ_HZ)) {
    return x;
  }

  const float y =
      f->b0 * x + f->b1 * f->x1 + f->b2 * f->x2 - f->a1 * f->y1 - f->a2 * f->y2;

  f->x2 = f->x1;
  f->x1 = x;
  f->y2 = f->y1;
  f->y1 = y;

  return y;
}

void nlms_freq_meter_init(nlms_freq_meter_t *m) {
  memset(m, 0, sizeof(*m));
  m->min_e = 1.0e30f;
  m->max_e = -1.0e30f;
  debug_nlms_freq_hz = 0.0f;
  debug_nlms_freq_confidence = 0.0f;
  debug_nlms_freq_updated = 0;
  debug_nlms_zero_cross_count = 0;
  debug_nlms_e_rms = 0.0f;
  debug_nlms_e_pp = 0.0f;
  nlms_freq_capture_buffer_index = 0;
  nlms_freq_async_init();
}

static void nlms_freq_async_init(void) {
  memset(&nlms_freq_async, 0, sizeof(nlms_freq_async));
  nlms_freq_async.phase = NLMS_FREQ_ASYNC_IDLE;
  debug_nlms_freq_async_phase = (uint8_t)nlms_freq_async.phase;
}

static void nlms_freq_async_begin_biquad(nlms_freq_async_phase_t phase,
                                         const float *input) {
  nlms_freq_async.phase = phase;
  nlms_freq_async.input = input;
  nlms_freq_async.index = 0;
  nlms_freq_async.x1 = input[0];
  nlms_freq_async.x2 = input[0];
  nlms_freq_async.y1 = input[0];
  nlms_freq_async.y2 = input[0];
  debug_nlms_freq_async_phase = (uint8_t)nlms_freq_async.phase;
}

static void nlms_freq_async_begin_reverse(nlms_freq_async_phase_t phase) {
  nlms_freq_async.phase = phase;
  nlms_freq_async.index = 0;
  debug_nlms_freq_async_phase = (uint8_t)nlms_freq_async.phase;
}

static void nlms_freq_async_begin_binary(nlms_freq_async_phase_t phase,
                                         uint32_t avg_filter_shift) {
  nlms_freq_async.phase = phase;
  nlms_freq_async.index = 1;
  nlms_freq_async.avg1 = nlms_freq_forward_buffer[0];
  nlms_freq_async.avg2 = nlms_freq_forward_buffer[0];
  nlms_freq_async.avg3 = nlms_freq_forward_buffer[0];
  nlms_freq_async.avg_divisor = (float)(1UL << avg_filter_shift);
  nlms_freq_binary_buffer[0] = 0U;
  debug_nlms_freq_async_phase = (uint8_t)nlms_freq_async.phase;
}

static void nlms_freq_async_begin_estimate(nlms_freq_async_phase_t phase,
                                           uint32_t stable_sample_count) {
  nlms_freq_async.phase = phase;
  nlms_freq_async.index = 1;
  nlms_freq_async.stable_sample_count = stable_sample_count;
  nlms_freq_async.rising_count = 0;
  nlms_freq_async.first_edge = 0;
  nlms_freq_async.last_edge = 0;
  nlms_freq_async.current_state_high =
      (nlms_freq_binary_buffer[0] != 0U) ? 1U : 0U;
  nlms_freq_async.candidate_state_high = nlms_freq_async.current_state_high;
  nlms_freq_async.candidate_count = 1U;
  debug_nlms_freq_async_phase = (uint8_t)nlms_freq_async.phase;
}

static uint8_t nlms_freq_async_start(const float *input, uint32_t sample_count,
                                     float rms, float min_e, float max_e) {
  if (nlms_freq_async.phase != NLMS_FREQ_ASYNC_IDLE) {
    debug_nlms_freq_async_drop_count++;
    return 0U;
  }

  nlms_freq_async.sample_count = sample_count;
  nlms_freq_async.rms = rms;
  nlms_freq_async.min_e = min_e;
  nlms_freq_async.max_e = max_e;
  nlms_freq_async.predict_freq_hz = 0.0f;
  nlms_freq_async_begin_biquad(NLMS_FREQ_ASYNC_FORWARD, input);
  return 1U;
}

static void nlms_freq_async_finish(void) {
  float freq_hz = 0.0f;
  float confidence = 0.0f;

  if ((nlms_freq_async.rising_count >= 2U) &&
      (nlms_freq_async.last_edge > nlms_freq_async.first_edge)) {
    freq_hz =
        ((float)(nlms_freq_async.rising_count - 1U) * NLMS_FREQ_SAMPLE_RATE) /
        (float)(nlms_freq_async.last_edge - nlms_freq_async.first_edge);
  }

  if ((nlms_freq_async.rms > NLMS_FREQ_MIN_RMS) &&
      (nlms_freq_async.rising_count >= 2U) && (freq_hz >= NLMS_FREQ_MIN_HZ) &&
      (freq_hz <= NLMS_FREQ_MAX_HZ)) {
    debug_nlms_freq_hz = freq_hz;
    confidence = nlms_freq_async.rms / (nlms_freq_async.rms + 100.0f);
  }

  debug_nlms_freq_confidence = confidence;
  debug_nlms_zero_cross_count = nlms_freq_async.rising_count;
  debug_nlms_e_rms = nlms_freq_async.rms;
  debug_nlms_e_pp =
      (nlms_freq_async.max_e - nlms_freq_async.min_e) / 4095.0f * 3.3f;
  debug_nlms_freq_history[debug_nlms_freq_history_index] = debug_nlms_freq_hz;
  debug_nlms_freq_history_index++;
  if (debug_nlms_freq_history_index >= DEBUG_NLMS_FREQ_HISTORY_SIZE) {
    debug_nlms_freq_history_index = 0;
    debug_nlms_freq_history_full = 1U;
  }
  if (debug_nlms_freq_history_count < DEBUG_NLMS_FREQ_HISTORY_SIZE) {
    debug_nlms_freq_history_count++;
  }
  debug_nlms_freq_async_complete_count++;
  debug_nlms_freq_updated = 1U;
  nlms_freq_async.phase = NLMS_FREQ_ASYNC_IDLE;
  debug_nlms_freq_async_phase = (uint8_t)nlms_freq_async.phase;
}

static void nlms_freq_async_process_biquad(float *output) {
  uint32_t end = nlms_freq_async.index + NLMS_FREQ_ASYNC_CHUNK_SIZE;
  if (end > nlms_freq_async.sample_count) {
    end = nlms_freq_async.sample_count;
  }

  for (uint32_t i = nlms_freq_async.index; i < end; i++) {
    const float x0 = nlms_freq_async.input[i];
    const float y0 = NLMS_FREQ_LP_B0 * x0 +
                     NLMS_FREQ_LP_B1 * nlms_freq_async.x1 +
                     NLMS_FREQ_LP_B2 * nlms_freq_async.x2 -
                     NLMS_FREQ_LP_A1 * nlms_freq_async.y1 -
                     NLMS_FREQ_LP_A2 * nlms_freq_async.y2;

    output[i] = y0;
    nlms_freq_async.x2 = nlms_freq_async.x1;
    nlms_freq_async.x1 = x0;
    nlms_freq_async.y2 = nlms_freq_async.y1;
    nlms_freq_async.y1 = y0;
  }

  nlms_freq_async.index = end;
}

static void nlms_freq_async_process_reverse(const float *input, float *output) {
  uint32_t end = nlms_freq_async.index + NLMS_FREQ_ASYNC_CHUNK_SIZE;
  if (end > nlms_freq_async.sample_count) {
    end = nlms_freq_async.sample_count;
  }

  for (uint32_t i = nlms_freq_async.index; i < end; i++) {
    output[i] = input[nlms_freq_async.sample_count - 1U - i];
  }

  nlms_freq_async.index = end;
}

static void nlms_freq_async_process_binary(void) {
  uint32_t end = nlms_freq_async.index + NLMS_FREQ_ASYNC_CHUNK_SIZE;
  if (end > nlms_freq_async.sample_count) {
    end = nlms_freq_async.sample_count;
  }

  for (uint32_t i = nlms_freq_async.index; i < end; i++) {
    nlms_freq_async.avg1 +=
        (nlms_freq_forward_buffer[i] - nlms_freq_async.avg1) /
        nlms_freq_async.avg_divisor;
    nlms_freq_async.avg2 += (nlms_freq_async.avg1 - nlms_freq_async.avg2) /
                            nlms_freq_async.avg_divisor;
    nlms_freq_async.avg3 += (nlms_freq_async.avg2 - nlms_freq_async.avg3) /
                            nlms_freq_async.avg_divisor;

    nlms_freq_binary_buffer[i] =
        (nlms_freq_forward_buffer[i] > nlms_freq_async.avg3) ? 1U : 0U;
  }

  nlms_freq_async.index = end;
}

static void nlms_freq_async_process_estimate(uint32_t sample_count) {
  uint32_t end = nlms_freq_async.index + NLMS_FREQ_ASYNC_CHUNK_SIZE;
  if (end > sample_count) {
    end = sample_count;
  }

  for (uint32_t i = nlms_freq_async.index; i < end; i++) {
    const uint8_t is_high = (nlms_freq_binary_buffer[i] != 0U) ? 1U : 0U;

    if (is_high == nlms_freq_async.candidate_state_high) {
      nlms_freq_async.candidate_count++;
    } else {
      nlms_freq_async.candidate_state_high = is_high;
      nlms_freq_async.candidate_count = 1U;
    }

    if ((nlms_freq_async.candidate_state_high !=
         nlms_freq_async.current_state_high) &&
        (nlms_freq_async.candidate_count >=
         nlms_freq_async.stable_sample_count)) {
      if ((nlms_freq_async.current_state_high == 0U) &&
          (nlms_freq_async.candidate_state_high != 0U)) {
        const uint32_t edge_index =
            i - nlms_freq_async.stable_sample_count + 1U;

        nlms_freq_async.rising_count++;
        if (nlms_freq_async.rising_count == 1U) {
          nlms_freq_async.first_edge = edge_index;
        }
        nlms_freq_async.last_edge = edge_index;
      }

      nlms_freq_async.current_state_high = nlms_freq_async.candidate_state_high;
    }
  }

  nlms_freq_async.index = end;
}

static void nlms_freq_async_process_slice(void) {
  switch (nlms_freq_async.phase) {
  case NLMS_FREQ_ASYNC_IDLE:
    break;

  case NLMS_FREQ_ASYNC_FORWARD:
    nlms_freq_async_process_biquad(nlms_freq_forward_buffer);
    if (nlms_freq_async.index >= nlms_freq_async.sample_count) {
      nlms_freq_async_begin_reverse(NLMS_FREQ_ASYNC_REVERSE_1);
    }
    break;

  case NLMS_FREQ_ASYNC_REVERSE_1:
    nlms_freq_async_process_reverse(nlms_freq_forward_buffer,
                                    nlms_freq_reverse_buffer);
    if (nlms_freq_async.index >= nlms_freq_async.sample_count) {
      nlms_freq_async_begin_biquad(NLMS_FREQ_ASYNC_BACKWARD,
                                   nlms_freq_reverse_buffer);
    }
    break;

  case NLMS_FREQ_ASYNC_BACKWARD:
    nlms_freq_async_process_biquad(nlms_freq_reverse_buffer);
    if (nlms_freq_async.index >= nlms_freq_async.sample_count) {
      nlms_freq_async_begin_reverse(NLMS_FREQ_ASYNC_REVERSE_2);
    }
    break;

  case NLMS_FREQ_ASYNC_REVERSE_2:
    nlms_freq_async_process_reverse(nlms_freq_reverse_buffer,
                                    nlms_freq_forward_buffer);
    if (nlms_freq_async.index >= nlms_freq_async.sample_count) {
      nlms_freq_async_begin_binary(NLMS_FREQ_ASYNC_BINARY_HIGH,
                                   NLMS_FREQ_AVG_SHIFT_HIGH);
    }
    break;

  case NLMS_FREQ_ASYNC_BINARY_HIGH:
    nlms_freq_async_process_binary();
    if (nlms_freq_async.index >= nlms_freq_async.sample_count) {
      nlms_freq_async_begin_estimate(NLMS_FREQ_ASYNC_ESTIMATE_PREDICT,
                                     NLMS_FREQ_PREDICT_STABLE_COUNT);
    }
    break;

  case NLMS_FREQ_ASYNC_ESTIMATE_PREDICT:
    nlms_freq_async_process_estimate(NLMS_FREQ_PREDICT_SIZE);
    if (nlms_freq_async.index >= NLMS_FREQ_PREDICT_SIZE) {
      if ((nlms_freq_async.rising_count >= 2U) &&
          (nlms_freq_async.last_edge > nlms_freq_async.first_edge)) {
        nlms_freq_async.predict_freq_hz =
            ((float)(nlms_freq_async.rising_count - 1U) *
             NLMS_FREQ_SAMPLE_RATE) /
            (float)(nlms_freq_async.last_edge - nlms_freq_async.first_edge);
      } else {
        nlms_freq_async.predict_freq_hz = 0.0f;
      }

      if (nlms_freq_async.predict_freq_hz > NLMS_FREQ_PREDICT_TH_HZ) {
        nlms_freq_async_begin_estimate(NLMS_FREQ_ASYNC_ESTIMATE_FINAL,
                                       NLMS_FREQ_PREDICT_STABLE_COUNT);
      } else {
        nlms_freq_async_begin_binary(NLMS_FREQ_ASYNC_BINARY_FINAL,
                                     NLMS_FREQ_AVG_SHIFT_LOW);
      }
    }
    break;

  case NLMS_FREQ_ASYNC_BINARY_FINAL:
    nlms_freq_async_process_binary();
    if (nlms_freq_async.index >= nlms_freq_async.sample_count) {
      nlms_freq_async_begin_estimate(NLMS_FREQ_ASYNC_ESTIMATE_FINAL,
                                     NLMS_FREQ_FALLBACK_STABLE_COUNT);
    }
    break;

  case NLMS_FREQ_ASYNC_ESTIMATE_FINAL:
    nlms_freq_async_process_estimate(nlms_freq_async.sample_count);
    if (nlms_freq_async.index >= nlms_freq_async.sample_count) {
      nlms_freq_async_finish();
    }
    break;

  default:
    nlms_freq_async_init();
    break;
  }
}

void nlms_freq_meter_process(nlms_freq_meter_t *m, float e_raw, nlms32_t *s) {
  (void)s;

  m->sum2 += e_raw * e_raw;
  if (e_raw < m->min_e) {
    m->min_e = e_raw;
  }
  if (e_raw > m->max_e) {
    m->max_e = e_raw;
  }
  nlms_freq_window_buffers[nlms_freq_capture_buffer_index][m->sample_count] =
      e_raw;
  m->sample_count++;

  m->prev_e = e_raw;
  m->prev_valid = 1;

  if (m->sample_count >= NLMS_FREQ_WINDOW_SIZE) {
    const float rms = sqrtf(m->sum2 / (float)m->sample_count);
    const uint8_t filled_buffer_index = nlms_freq_capture_buffer_index;

    if (nlms_freq_async_start(nlms_freq_window_buffers[filled_buffer_index],
                              NLMS_FREQ_WINDOW_SIZE, rms, m->min_e,
                              m->max_e) == 1U) {
      nlms_freq_capture_buffer_index ^= 1U;
    }

    m->sample_count = 0;
    m->zero_cross_count = 0;
    m->sum2 = 0.0f;
    m->min_e = 1.0e30f;
    m->max_e = -1.0e30f;
  }
}

void ref_square_freq_meter_init(nlms_freq_meter_t *m) {
  memset(m, 0, sizeof(*m));
  m->min_e = 1.0e30f;
  m->max_e = -1.0e30f;
  debug_ref_square_freq_hz = 0.0f;
  debug_ref_square_freq_confidence = 0.0f;
  debug_ref_square_zero_cross_count = 0;
  debug_ref_square_rms = 0.0f;

  square_nlms_freq_ratio = 0;
}

void ref_square_freq_meter_process(nlms_freq_meter_t *m, float x_raw) {
  m->sum2 += x_raw * x_raw;
  m->sample_count++;

  if (x_raw < -NLMS_FREQ_HYST_TH) {
    m->armed_positive = 1;
  }

  if ((m->armed_positive == 1) && (x_raw > NLMS_FREQ_HYST_TH)) {
    m->zero_cross_count++;
    m->armed_positive = 0;
  }

  m->prev_e = x_raw;
  m->prev_valid = 1;

  if (m->sample_count >= NLMS_FREQ_WINDOW_SIZE) {
    const float rms = sqrtf(m->sum2 / (float)m->sample_count);
    float confidence = 0.0f;

    if ((rms > NLMS_FREQ_MIN_RMS) && (m->zero_cross_count > 0U)) {
      const float freq_hz = (float)m->zero_cross_count * NLMS_FREQ_SAMPLE_RATE /
                            (float)m->sample_count;

      if ((freq_hz >= NLMS_FREQ_MIN_HZ) && (freq_hz <= NLMS_FREQ_MAX_HZ)) {
        m->last_freq_hz = freq_hz;
        confidence = rms / (rms + 100.0f);
      }
    }

    m->confidence = confidence;
    debug_ref_square_freq_hz = m->last_freq_hz;
    if (debug_ref_square_freq_hz != 0) {
      square_nlms_freq_ratio = debug_nlms_freq_hz / debug_ref_square_freq_hz;
    } else {
      square_nlms_freq_ratio = 0;
    }
    debug_ref_square_freq_confidence = m->confidence;
    debug_ref_square_zero_cross_count = m->zero_cross_count;
    debug_ref_square_rms = rms;

    m->sample_count = 0;
    m->zero_cross_count = 0;
    m->sum2 = 0.0f;
  }
}

void biquad_hp_init(biquad_hp_t *f) {
  f->b0 = 0.9920347;
  f->b1 = -1.98406941;
  f->b2 = 0.9920347;
  f->a1 = -1.98400596;
  f->a2 = 0.98413285;

  f->x1 = 0.0f;
  f->x2 = 0.0f;
  f->y1 = 0.0f;
  f->y2 = 0.0f;
}

float biquad_hp_process(biquad_hp_t *f, float x0) {
  float y0 = f->b0 * x0 + f->b1 * f->x1 + f->b2 * f->x2 - f->a1 * f->y1 -
             f->a2 * f->y2;

  f->x2 = f->x1;
  f->x1 = x0;
  f->y2 = f->y1;
  f->y1 = y0;

  return y0;
}

uint16_t clamp_to_dac_u16(float v) {
  if (v < 0.0f)
    return 0;
  if (v > (float)DAC_MAX)
    return DAC_MAX;
  return (uint16_t)(v + 0.5f);
}

double poly33_3k(double x, double y) {
  const double p00 = -1.292;
  const double p10 = -2.809;
  const double p01 = 9.671;
  const double p20 = -2.627;
  const double p11 = 4.891;
  const double p02 = -9.536;
  const double p30 = 0.216;
  const double p21 = 3.043;
  const double p12 = -4.130;
  const double p03 = 3.638;

  double x2 = x * x;
  double y2 = y * y;
  double x3 = x2 * x;
  double y3 = y2 * y;

  return p00 + p10 * x + p01 * y + p20 * x2 + p11 * x * y + p02 * y2 +
         p30 * x3 + p21 * x2 * y + p12 * x * y2 + p03 * y3;
}

double poly33_5k(double x, double y) {
  const double p00 = 2.314;
  const double p10 = 3.545;
  const double p01 = -5.606;
  const double p20 = -1.721;
  const double p11 = -6.22;
  const double p02 = 9.128;
  const double p30 = 1.137;
  const double p21 = -1.388;
  const double p12 = 4.707;
  const double p03 = -4.512;

  double x2 = x * x;
  double y2 = y * y;
  double x3 = x2 * x;
  double y3 = y2 * y;

  return p00 + p10 * x + p01 * y + p20 * x2 + p11 * x * y + p02 * y2 +
         p30 * x3 + p21 * x2 * y + p12 * x * y2 + p03 * y3;
}

void nlms_adjust_square_wave_mode(nlms32_t *s) {
  enum {
    NLMS_SQUARE_MODE_NONE = 0,
    NLMS_SQUARE_MODE_NON_ODD_HARMONIC = 1,
    NLMS_SQUARE_MODE_THIRD_HARMONIC = 2,
    NLMS_SQUARE_MODE_FIFTH_HARMONIC = 3,
  };

  static uint8_t stable_count = 0;
  static uint8_t square_mode = NLMS_SQUARE_MODE_NONE;
  static uint8_t gain_adjusted = 0;

  static uint8_t harmonic_stable_count = 0;

  if (ref_noise_is_square == 1) {
    if ((square_nlms_freq_ratio > 2.95) && (square_nlms_freq_ratio < 3.03)) {
      if (square_mode == NLMS_SQUARE_MODE_THIRD_HARMONIC) {
        stable_count++;
      } else {
        square_mode = NLMS_SQUARE_MODE_THIRD_HARMONIC;
        stable_count = 0;
      }
    } else if ((square_nlms_freq_ratio > 4.92) &&
               (square_nlms_freq_ratio < 5.08)) {
      if (square_mode == NLMS_SQUARE_MODE_FIFTH_HARMONIC) {
        stable_count++;
      } else {
        square_mode = NLMS_SQUARE_MODE_FIFTH_HARMONIC;
        stable_count = 0;
      }
    } else {
      if (square_mode == NLMS_SQUARE_MODE_NON_ODD_HARMONIC) {
        stable_count++;
      } else {
        square_mode = NLMS_SQUARE_MODE_NON_ODD_HARMONIC;
        stable_count = 0;
      }
    }
  } else {
    if (square_mode == NLMS_SQUARE_MODE_NONE) {
      stable_count++;
    } else {
      square_mode = NLMS_SQUARE_MODE_NONE;
      stable_count = 0;
    }
  }

  if (stable_count <= 50) {
    return;
  }

  switch (square_mode) {
  case NLMS_SQUARE_MODE_NONE:
    s->mu = NLMS_MU;
    s->gain = NLMS_GAIN;
    break;

  case NLMS_SQUARE_MODE_NON_ODD_HARMONIC:
    s->mu = NLMS_MU * 30;
    s->gain = NLMS_GAIN;
    break;
  case NLMS_SQUARE_MODE_THIRD_HARMONIC:
    s->mu = 0.00000001f;

    if ((gain_adjusted == 0) && (harmonic_stable_count == 4)) {
      gain_adjusted = 1;
      s->gain = poly33_3k(debug_ref_square_amplitude, debug_nlms_e_pp);
      HAL_GPIO_WritePin(GPIOD, GPIO_PIN_13, GPIO_PIN_SET);
    } else {
      harmonic_stable_count++;
    }
    break;
  case NLMS_SQUARE_MODE_FIFTH_HARMONIC:
    s->mu = 0.00000001f;

    if ((gain_adjusted == 0) && (harmonic_stable_count == 4)) {
      gain_adjusted = 1;
      s->gain = poly33_5k(debug_ref_square_amplitude, debug_nlms_e_pp);
      HAL_GPIO_WritePin(GPIOD, GPIO_PIN_13, GPIO_PIN_SET);
    } else {
      harmonic_stable_count++;
    }
    break;

  default:
    break;
  }
  stable_count = 0;
}

/*
 * 一次处理一个 block（双 ADC 交错输入版）
 *
 * adc_interleaved : 双 ADC 规则同时采样后的交错输入数组
 *                   ][d0, x0, d1, x1, d2, x2, ...
 *                   其中 d 为主输入块（混合信号/期望输入）
 *                   x 为参考输入块（噪声参考）
 * out             : 输出块（误差信号），长度为 pair_count * DAC_INTERP_FACTOR
 * pair_count      : 采样对数；例如传 128 表示处理 128 对双 ADC 数据
 */
void nlms32_process_block_u16(nlms32_t *s,
                              const uint16_t *restrict adc_interleaved,
                              uint16_t *restrict out, uint32_t pair_count) {
  float *restrict w = s->w;
  float *restrict hist = s->x_hist;
  uint8_t idx = s->idx;

  float prev_out_f = s->prev_out_f;
  uint8_t prev_out_valid = s->prev_out_valid;
  uint8_t despike_valid_count = s->despike_valid_count;

  // 小巧思
  nlms_adjust_square_wave_mode(s);

  for (uint32_t n = 0; n < pair_count; n++) {
    const uint32_t base = (uint32_t)(n << 1);

    const float d = (float)adc_interleaved[base + 0] - ADC_MIX_MID;
    const float x_new_raw = (float)adc_interleaved[base + 1] - ADC_NOISE_MID;
    ref_square_detector_process(&s->ref_square_detector, x_new_raw);
    if (ref_noise_is_square == 1) {
      if (s->ref_square_freq_meter_active == 0) {
        ref_square_freq_meter_init(&s->ref_square_freq_meter);
        s->ref_square_freq_meter_active = 1;
      }
      ref_square_freq_meter_process(&s->ref_square_freq_meter, x_new_raw);
    } else if (s->ref_square_freq_meter_active == 1) {
      ref_square_freq_meter_init(&s->ref_square_freq_meter);
      s->ref_square_freq_meter_active = 0;
    }

    const float x_ref = (NLMS_REF_NOTCH_ON == 1)
                            ? dynamic_notch_process(&s->ref_notch, x_new_raw)
                            : x_new_raw;

    debug_ref_notch_last_in = x_new_raw;
    debug_ref_notch_last_out = x_ref;
    debug_ref_notch_locked_freq_hz = s->ref_notch.locked_freq_hz;
    debug_ref_notch_valid = s->ref_notch.freq_valid;

    float e;

    if (DIRECT_MIX_MINUS_NOISE_ON == 1) {
      e = d - x_new_raw;
    } else {
      idx = (idx == 0) ? (NLMS_TAPS - 1) : (idx - 1);
      hist[idx] = x_ref;
      hist[idx + NLMS_TAPS] = x_ref;

      const float *restrict x = &hist[idx];

      float y = 0.0f;
      float norm = 0.0f;

      // 四阶展开
      for (int i = 0; i < NLMS_TAPS; i += 4) {
        const float x0 = x[i + 0];
        const float x1 = x[i + 1];
        const float x2 = x[i + 2];
        const float x3 = x[i + 3];

        y += w[i + 0] * x0 + w[i + 1] * x1 + w[i + 2] * x2 + w[i + 3] * x3;
        norm += x0 * x0 + x1 * x1 + x2 * x2 + x3 * x3;
      }

      e = d - y;

      if (NLMS_FREEZE_W_ON == 0) {
        const float g = (s->mu * e) / (NLMS_EPS + norm);

        for (int i = 0; i < NLMS_TAPS; i += 4) {
          w[i + 0] += g * x[i + 0];
          w[i + 1] += g * x[i + 1];
          w[i + 2] += g * x[i + 2];
          w[i + 3] += g * x[i + 3];
        }
      }
    }

    nlms_freq_meter_process(&s->freq_meter, e, s);
    if (debug_nlms_freq_updated == 1U) {
      debug_nlms_freq_updated = 0U;
      const float measured_freq_hz = debug_nlms_freq_hz;
      const float confidence = debug_nlms_freq_confidence;
      uint8_t did_jump_reset = 0;

      if ((NLMS_FREQ_JUMP_RESET_ON == 1) &&
          (confidence >= NLMS_REF_NOTCH_MIN_CONFIDENCE) &&
          (measured_freq_hz >= NLMS_REF_NOTCH_MIN_FREQ) &&
          (measured_freq_hz <= NLMS_REF_NOTCH_MAX_FREQ) &&
          (s->ref_notch.freq_valid == 1) &&
          (fabsf(measured_freq_hz - s->ref_notch.locked_freq_hz) >
           NLMS_FREQ_JUMP_RESET_TH)) {
        nlms32_reset(s);
        dynamic_notch_set_freq(&s->ref_notch, measured_freq_hz);
        nlms_reset_led_until_tick = HAL_GetTick() + NLMS_RESET_LED_HOLD_MS;

        w = s->w;
        hist = s->x_hist;
        idx = s->idx;
        prev_out_f = s->prev_out_f;
        prev_out_valid = s->prev_out_valid;
        despike_valid_count = s->despike_valid_count;
        did_jump_reset = 1;
      }

      if (did_jump_reset == 0) {
        dynamic_notch_update_freq(&s->ref_notch, measured_freq_hz, confidence);
      }
    }

    float e_for_dac = e;
    if (NLMS_DESPIKE_ON == 1) {
      if (despike_valid_count < 4) {
        s->despike_hist[despike_valid_count] = e;
        despike_valid_count++;
      } else {
        if (despike_valid_count == 4) {
          s->despike_hist[4] = e;
          despike_valid_count = 5;
        } else {
          s->despike_hist[0] = s->despike_hist[1];
          s->despike_hist[1] = s->despike_hist[2];
          s->despike_hist[2] = s->despike_hist[3];
          s->despike_hist[3] = s->despike_hist[4];
          s->despike_hist[4] = e;
        }

        const float p0 = s->despike_hist[0];
        const float p1 = s->despike_hist[1];
        const float p2 = s->despike_hist[2];
        const float p3 = s->despike_hist[3];
        const float p4 = s->despike_hist[4];
        const float predicted = (-p0 + 9.0f * p1 + 9.0f * p3 - p4) / 16.0f;
        const float residual = p2 - predicted;

        const uint8_t positive_spike =
            ((p2 - p1) > NLMS_DESPIKE_TH) && ((p2 - p3) > NLMS_DESPIKE_TH);
        const uint8_t negative_spike =
            ((p1 - p2) > NLMS_DESPIKE_TH) && ((p3 - p2) > NLMS_DESPIKE_TH);
        const uint8_t spike = (positive_spike || negative_spike) &&
                              (fabsf(residual) > NLMS_DESPIKE_TH);

        e_for_dac = spike ? predicted : p2;
      }
    }

    const float out_signal = (HIGH_PASS_FILTER_ON == 1)
                                 ? biquad_hp_process(&hp_filter, e_for_dac)
                                 : e_for_dac;
    const float curr_out_f = out_signal * s->gain + ADC_MIX_MID;

    const uint32_t out_base = (uint32_t)(n * DAC_INTERP_FACTOR);

    if (!prev_out_valid) {
      for (uint32_t k = 0; k < DAC_INTERP_FACTOR; k++) {
        out[out_base + k] = clamp_to_dac_u16(curr_out_f);
      }
      prev_out_valid = 1;
    } else {
      const float step = (curr_out_f - prev_out_f) / (float)DAC_INTERP_FACTOR;
      for (uint32_t k = 0; k < DAC_INTERP_FACTOR; k++) {
        out[out_base + k] =
            clamp_to_dac_u16(prev_out_f + step * (float)(k + 1));
      }
    }

    prev_out_f = curr_out_f;
  }

  s->idx = idx;
  s->prev_out_f = prev_out_f;
  s->prev_out_valid = prev_out_valid;
  s->despike_valid_count = despike_valid_count;
}

void HAL_ADC_ConvHalfCpltCallback(ADC_HandleTypeDef *hadc) {
  if (hadc == &hadc1) {
    uint32_t now = TIM5->CNT;

    tim5_delta_half = now - tim5_last_full; // full -> half，半个buffer时间
    tim5_last_half = now;

    // HAL_GPIO_TogglePin(GPIOA, GPIO_PIN_2);
    DMA_HALF_SIGN = 1;
  }
}

void HAL_ADC_ConvCpltCallback(ADC_HandleTypeDef *hadc) {
  if (hadc == &hadc1) {
    uint32_t now = TIM5->CNT;

    tim5_delta_full = now - tim5_last_half; // half -> full，半个buffer时间
    tim5_last_full = now;

    if (tim5_delta_full != 0) {
      adc_fs_full = ADC_PAIR_COUNT * 1000000.0f / (float)tim5_delta_full;
    }

    // HAL_GPIO_TogglePin(GPIOA, GPIO_PIN_3);
    DMA_FULL_SIGN = 1;
  }
}

void ClearDACOutputValues() {
  for (int i = 0; i < DAC_BUFFER_SIZE; i++) {
    dacOutputValues[i] = 0;
  }
}
/* USER CODE END 4 */

void Error_Handler(void) {
  /* USER CODE BEGIN Error_Handler_Debug */
  /* User can add his own implementation to report the HAL error return state
   */
  __disable_irq();
  while (1) {
  }
  /* USER CODE END Error_Handler_Debug */
}
#ifdef USE_FULL_ASSERT
/**
 * @brief  Reports the name of the source file and the source line number
 *         where the assert_param error has occurred.
 * @param  file: pointer to the source file name
 * @param  line: assert_param error line source number
 * @retval None
 */
void assert_failed(uint8_t *file, uint32_t line) {
  /* USER CODE BEGIN 6 */
  /* User can add his own implementation to report the file name and line
     number, ex: printf("Wrong parameters value: file %s on line %d\r\n",
     file, line) */
  /* USER CODE END 6 */
}
#endif /* USE_FULL_ASSERT */
